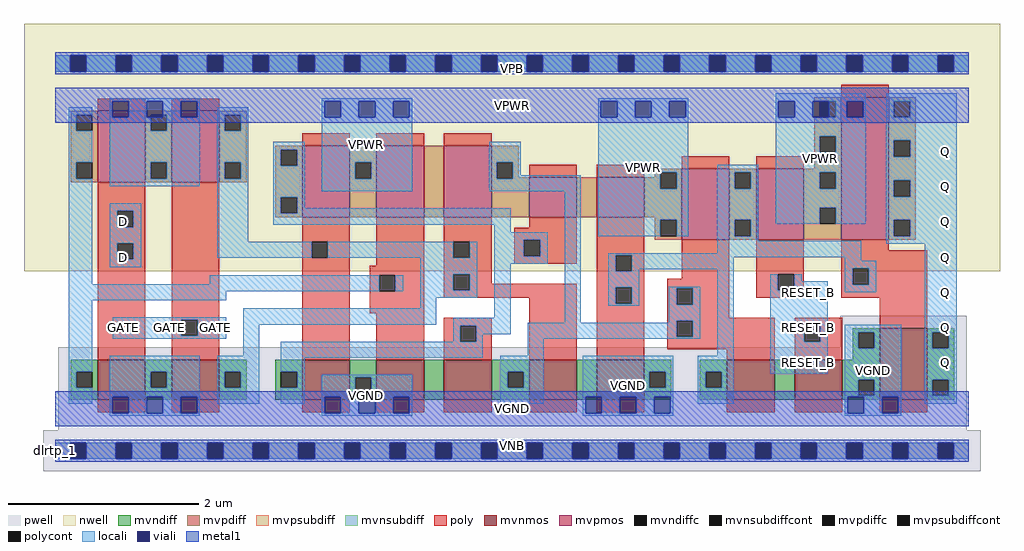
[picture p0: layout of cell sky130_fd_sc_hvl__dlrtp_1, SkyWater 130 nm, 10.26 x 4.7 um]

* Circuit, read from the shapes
.subckt sky130_fd_sc_hvl__dlrtp_1 D GATE RESET_B VGND VNB VPB VPWR Q
XM1 VGND D n1 VNB sky130_fd_pr__nfet_g5v0d10v5 w=0.42 l=0.5
XM2 n2 GATE VGND VNB sky130_fd_pr__nfet_g5v0d10v5 w=0.42 l=0.5
XM3 VGND n2 n3 VNB sky130_fd_pr__nfet_g5v0d10v5 w=0.42 l=0.5
XM4 n4 n1 VGND VNB sky130_fd_pr__nfet_g5v0d10v5 w=0.42 l=0.5
XM5 n5 n3 n4 VNB sky130_fd_pr__nfet_g5v0d10v5 w=0.42 l=0.5
XM6 n6 n2 n5 VNB sky130_fd_pr__nfet_g5v0d10v5 w=0.42 l=0.5
XM7 VGND n7 n6 VNB sky130_fd_pr__nfet_g5v0d10v5 w=0.42 l=0.5
XM8 n8 n5 n7 VNB sky130_fd_pr__nfet_g5v0d10v5 w=0.42 l=0.5
XM9 VGND RESET_B n8 VNB sky130_fd_pr__nfet_g5v0d10v5 w=0.42 l=0.5
XM10 Q n7 VGND VNB sky130_fd_pr__nfet_g5v0d10v5 w=0.75 l=0.5
XM11 VPWR D n1 VPB sky130_fd_pr__pfet_g5v0d10v5 w=0.75 l=0.5
XM12 n2 GATE VPWR VPB sky130_fd_pr__pfet_g5v0d10v5 w=0.75 l=0.5
XM13 VPWR n2 n3 VPB sky130_fd_pr__pfet_g5v0d10v5 w=0.75 l=0.5
XM14 n9 n1 VPWR VPB sky130_fd_pr__pfet_g5v0d10v5 w=0.75 l=0.5
XM15 n5 n2 n9 VPB sky130_fd_pr__pfet_g5v0d10v5 w=0.75 l=0.5
XM16 n10 n3 n5 VPB sky130_fd_pr__pfet_g5v0d10v5 w=0.42 l=0.5
XM17 VPWR n7 n10 VPB sky130_fd_pr__pfet_g5v0d10v5 w=0.42 l=0.5
XM18 n7 n5 VPWR VPB sky130_fd_pr__pfet_g5v0d10v5 w=0.75 l=0.5
XM19 VPWR RESET_B n7 VPB sky130_fd_pr__pfet_g5v0d10v5 w=0.75 l=0.5
XM20 Q n7 VPWR VPB sky130_fd_pr__pfet_g5v0d10v5 w=1.5 l=0.5
.ends

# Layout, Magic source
magic
tech sky130A
magscale 1 2
<< nwell >>
rect -66 377 1986 897
<< pwell >>
rect 1650 217 1916 283
rect 6 43 1916 217
rect -26 -43 1946 43
<< mvnmos >>
rect 89 107 189 191
rect 245 107 345 191
rect 519 107 619 191
rect 675 107 775 191
rect 817 107 917 191
rect 996 107 1096 191
rect 1138 107 1238 191
rect 1412 107 1512 191
rect 1554 107 1654 191
rect 1733 107 1833 257
<< mvpmos >>
rect 89 564 189 714
rect 245 564 345 714
rect 519 491 619 641
rect 675 491 775 641
rect 817 491 917 641
rect 996 491 1096 575
rect 1138 491 1238 575
rect 1317 443 1417 593
rect 1473 443 1573 593
rect 1652 443 1752 743
<< mvndiff >>
rect 1676 249 1733 257
rect 1676 215 1688 249
rect 1722 215 1733 249
rect 1676 191 1733 215
rect 32 166 89 191
rect 32 132 44 166
rect 78 132 89 166
rect 32 107 89 132
rect 189 166 245 191
rect 189 132 200 166
rect 234 132 245 166
rect 189 107 245 132
rect 345 166 402 191
rect 345 132 356 166
rect 390 132 402 166
rect 345 107 402 132
rect 462 166 519 191
rect 462 132 474 166
rect 508 132 519 166
rect 462 107 519 132
rect 619 154 675 191
rect 619 120 630 154
rect 664 120 675 154
rect 619 107 675 120
rect 775 107 817 191
rect 917 166 996 191
rect 917 132 951 166
rect 985 132 996 166
rect 917 107 996 132
rect 1096 107 1138 191
rect 1238 166 1295 191
rect 1238 132 1249 166
rect 1283 132 1295 166
rect 1238 107 1295 132
rect 1355 166 1412 191
rect 1355 132 1367 166
rect 1401 132 1412 166
rect 1355 107 1412 132
rect 1512 107 1554 191
rect 1654 149 1733 191
rect 1654 115 1688 149
rect 1722 115 1733 149
rect 1654 107 1733 115
rect 1833 249 1890 257
rect 1833 215 1844 249
rect 1878 215 1890 249
rect 1833 149 1890 215
rect 1833 115 1844 149
rect 1878 115 1890 149
rect 1833 107 1890 115
<< mvpdiff >>
rect 1595 735 1652 743
rect 32 706 89 714
rect 32 672 44 706
rect 78 672 89 706
rect 32 606 89 672
rect 32 572 44 606
rect 78 572 89 606
rect 32 564 89 572
rect 189 706 245 714
rect 189 672 200 706
rect 234 672 245 706
rect 189 606 245 672
rect 189 572 200 606
rect 234 572 245 606
rect 189 564 245 572
rect 345 706 402 714
rect 345 672 356 706
rect 390 672 402 706
rect 345 606 402 672
rect 1595 701 1607 735
rect 1641 701 1652 735
rect 1595 661 1652 701
rect 345 572 356 606
rect 390 572 402 606
rect 345 564 402 572
rect 462 633 519 641
rect 462 599 474 633
rect 508 599 519 633
rect 462 533 519 599
rect 462 499 474 533
rect 508 499 519 533
rect 462 491 519 499
rect 619 606 675 641
rect 619 572 630 606
rect 664 572 675 606
rect 619 491 675 572
rect 775 491 817 641
rect 917 606 974 641
rect 1595 627 1607 661
rect 1641 627 1652 661
rect 917 572 928 606
rect 962 575 974 606
rect 1595 593 1652 627
rect 1260 585 1317 593
rect 1260 575 1272 585
rect 962 572 996 575
rect 917 491 996 572
rect 1096 491 1138 575
rect 1238 551 1272 575
rect 1306 551 1317 585
rect 1238 491 1317 551
rect 1260 485 1317 491
rect 1260 451 1272 485
rect 1306 451 1317 485
rect 1260 443 1317 451
rect 1417 585 1473 593
rect 1417 551 1428 585
rect 1462 551 1473 585
rect 1417 485 1473 551
rect 1417 451 1428 485
rect 1462 451 1473 485
rect 1417 443 1473 451
rect 1573 585 1652 593
rect 1573 551 1607 585
rect 1641 551 1652 585
rect 1573 511 1652 551
rect 1573 477 1607 511
rect 1641 477 1652 511
rect 1573 443 1652 477
rect 1752 735 1809 743
rect 1752 701 1763 735
rect 1797 701 1809 735
rect 1752 652 1809 701
rect 1752 618 1763 652
rect 1797 618 1809 652
rect 1752 568 1809 618
rect 1752 534 1763 568
rect 1797 534 1809 568
rect 1752 485 1809 534
rect 1752 451 1763 485
rect 1797 451 1809 485
rect 1752 443 1809 451
<< mvndiffc >>
rect 1688 215 1722 249
rect 44 132 78 166
rect 200 132 234 166
rect 356 132 390 166
rect 474 132 508 166
rect 630 120 664 154
rect 951 132 985 166
rect 1249 132 1283 166
rect 1367 132 1401 166
rect 1688 115 1722 149
rect 1844 215 1878 249
rect 1844 115 1878 149
<< mvpdiffc >>
rect 44 672 78 706
rect 44 572 78 606
rect 200 672 234 706
rect 200 572 234 606
rect 356 672 390 706
rect 1607 701 1641 735
rect 356 572 390 606
rect 474 599 508 633
rect 474 499 508 533
rect 630 572 664 606
rect 1607 627 1641 661
rect 928 572 962 606
rect 1272 551 1306 585
rect 1272 451 1306 485
rect 1428 551 1462 585
rect 1428 451 1462 485
rect 1607 551 1641 585
rect 1607 477 1641 511
rect 1763 701 1797 735
rect 1763 618 1797 652
rect 1763 534 1797 568
rect 1763 451 1797 485
<< mvpsubdiff >>
rect 0 -17 31 17
rect 65 -17 127 17
rect 161 -17 223 17
rect 257 -17 319 17
rect 353 -17 415 17
rect 449 -17 511 17
rect 545 -17 607 17
rect 641 -17 703 17
rect 737 -17 799 17
rect 833 -17 895 17
rect 929 -17 991 17
rect 1025 -17 1087 17
rect 1121 -17 1183 17
rect 1217 -17 1279 17
rect 1313 -17 1375 17
rect 1409 -17 1471 17
rect 1505 -17 1567 17
rect 1601 -17 1663 17
rect 1697 -17 1759 17
rect 1793 -17 1855 17
rect 1889 -17 1920 17
<< mvnsubdiff >>
rect 0 797 31 831
rect 65 797 127 831
rect 161 797 223 831
rect 257 797 319 831
rect 353 797 415 831
rect 449 797 511 831
rect 545 797 607 831
rect 641 797 703 831
rect 737 797 799 831
rect 833 797 895 831
rect 929 797 991 831
rect 1025 797 1087 831
rect 1121 797 1183 831
rect 1217 797 1279 831
rect 1313 797 1375 831
rect 1409 797 1471 831
rect 1505 797 1567 831
rect 1601 797 1663 831
rect 1697 797 1759 831
rect 1793 797 1855 831
rect 1889 797 1920 831
<< mvpsubdiffcont >>
rect 31 -17 65 17
rect 127 -17 161 17
rect 223 -17 257 17
rect 319 -17 353 17
rect 415 -17 449 17
rect 511 -17 545 17
rect 607 -17 641 17
rect 703 -17 737 17
rect 799 -17 833 17
rect 895 -17 929 17
rect 991 -17 1025 17
rect 1087 -17 1121 17
rect 1183 -17 1217 17
rect 1279 -17 1313 17
rect 1375 -17 1409 17
rect 1471 -17 1505 17
rect 1567 -17 1601 17
rect 1663 -17 1697 17
rect 1759 -17 1793 17
rect 1855 -17 1889 17
<< mvnsubdiffcont >>
rect 31 797 65 831
rect 127 797 161 831
rect 223 797 257 831
rect 319 797 353 831
rect 415 797 449 831
rect 511 797 545 831
rect 607 797 641 831
rect 703 797 737 831
rect 799 797 833 831
rect 895 797 929 831
rect 991 797 1025 831
rect 1087 797 1121 831
rect 1183 797 1217 831
rect 1279 797 1313 831
rect 1375 797 1409 831
rect 1471 797 1505 831
rect 1567 797 1601 831
rect 1663 797 1697 831
rect 1759 797 1793 831
rect 1855 797 1889 831
<< poly >>
rect 1652 743 1752 769
rect 89 714 189 740
rect 245 714 345 740
rect 519 641 619 667
rect 675 641 775 667
rect 817 641 917 667
rect 89 504 189 564
rect 89 470 130 504
rect 164 470 189 504
rect 89 436 189 470
rect 89 402 130 436
rect 164 402 189 436
rect 89 191 189 402
rect 245 275 345 564
rect 996 575 1096 601
rect 1138 575 1238 601
rect 1317 593 1417 619
rect 1473 593 1573 619
rect 245 241 265 275
rect 299 241 345 275
rect 245 191 345 241
rect 519 439 619 491
rect 519 405 539 439
rect 573 405 619 439
rect 519 191 619 405
rect 675 389 775 491
rect 661 369 775 389
rect 661 335 681 369
rect 715 335 775 369
rect 661 289 775 335
rect 817 439 917 491
rect 996 469 1096 491
rect 817 405 837 439
rect 871 405 917 439
rect 817 371 917 405
rect 965 443 1096 469
rect 965 409 985 443
rect 1019 409 1096 443
rect 965 393 1096 409
rect 1138 411 1238 491
rect 817 337 837 371
rect 871 351 917 371
rect 1138 377 1178 411
rect 1212 377 1238 411
rect 871 337 1096 351
rect 817 321 1096 337
rect 675 191 775 289
rect 817 263 917 279
rect 817 229 851 263
rect 885 229 917 263
rect 817 191 917 229
rect 996 191 1096 321
rect 1138 343 1238 377
rect 1317 361 1417 443
rect 1138 309 1178 343
rect 1212 309 1238 343
rect 1138 191 1238 309
rect 1286 341 1417 361
rect 1286 307 1306 341
rect 1340 307 1417 341
rect 1473 371 1573 443
rect 1473 337 1519 371
rect 1553 337 1573 371
rect 1473 321 1573 337
rect 1652 421 1752 443
rect 1652 383 1833 421
rect 1652 349 1676 383
rect 1710 349 1833 383
rect 1652 321 1833 349
rect 1286 279 1417 307
rect 1286 273 1512 279
rect 1286 239 1306 273
rect 1340 239 1512 273
rect 1286 213 1512 239
rect 1412 191 1512 213
rect 1554 263 1654 279
rect 1554 229 1574 263
rect 1608 229 1654 263
rect 1733 257 1833 321
rect 1554 191 1654 229
rect 89 81 189 107
rect 245 81 345 107
rect 519 81 619 107
rect 675 81 775 107
rect 817 81 917 107
rect 996 81 1096 107
rect 1138 81 1238 107
rect 1412 81 1512 107
rect 1554 81 1654 107
rect 1733 81 1833 107
<< polycont >>
rect 130 470 164 504
rect 130 402 164 436
rect 265 241 299 275
rect 539 405 573 439
rect 681 335 715 369
rect 837 405 871 439
rect 985 409 1019 443
rect 837 337 871 371
rect 1178 377 1212 411
rect 851 229 885 263
rect 1178 309 1212 343
rect 1306 307 1340 341
rect 1519 337 1553 371
rect 1676 349 1710 383
rect 1306 239 1340 273
rect 1574 229 1608 263
<< locali >>
rect 0 797 31 831
rect 65 797 127 831
rect 161 797 223 831
rect 257 797 319 831
rect 353 797 415 831
rect 449 797 511 831
rect 545 797 607 831
rect 641 797 703 831
rect 737 797 799 831
rect 833 797 895 831
rect 929 797 991 831
rect 1025 797 1087 831
rect 1121 797 1183 831
rect 1217 797 1279 831
rect 1313 797 1375 831
rect 1409 797 1471 831
rect 1505 797 1567 831
rect 1601 797 1663 831
rect 1697 797 1759 831
rect 1793 797 1855 831
rect 1889 797 1920 831
rect 114 735 304 741
rect 28 706 78 722
rect 28 672 44 706
rect 28 606 78 672
rect 28 572 44 606
rect 28 350 78 572
rect 114 701 120 735
rect 154 701 192 735
rect 226 706 264 735
rect 234 701 264 706
rect 298 701 304 735
rect 560 735 750 741
rect 114 672 200 701
rect 234 672 304 701
rect 114 606 304 672
rect 114 572 200 606
rect 234 572 304 606
rect 114 556 304 572
rect 340 706 406 722
rect 340 672 356 706
rect 390 672 406 706
rect 340 606 406 672
rect 560 701 566 735
rect 600 701 638 735
rect 672 701 710 735
rect 744 701 750 735
rect 340 572 356 606
rect 390 572 406 606
rect 114 504 180 520
rect 114 470 130 504
rect 164 470 180 504
rect 114 436 180 470
rect 114 402 130 436
rect 164 402 180 436
rect 340 439 406 572
rect 458 633 524 649
rect 458 599 474 633
rect 508 599 524 633
rect 458 533 524 599
rect 560 606 750 701
rect 1141 735 1331 741
rect 1141 701 1147 735
rect 1181 701 1219 735
rect 1253 701 1291 735
rect 1325 701 1331 735
rect 560 572 630 606
rect 664 572 750 606
rect 560 545 750 572
rect 912 606 978 649
rect 912 572 928 606
rect 962 579 978 606
rect 1141 585 1331 701
rect 1514 735 1704 751
rect 1514 701 1520 735
rect 1554 701 1592 735
rect 1641 701 1664 735
rect 1698 701 1704 735
rect 1514 661 1704 701
rect 1514 627 1607 661
rect 1641 627 1704 661
rect 962 572 1105 579
rect 912 545 1105 572
rect 458 499 474 533
rect 508 509 524 533
rect 508 499 957 509
rect 458 475 957 499
rect 923 459 957 475
rect 923 443 1035 459
rect 340 405 539 439
rect 573 405 837 439
rect 871 405 887 439
rect 114 386 180 402
rect 767 371 887 405
rect 325 350 681 369
rect 28 335 681 350
rect 715 335 731 369
rect 767 337 837 371
rect 871 337 887 371
rect 28 316 359 335
rect 767 321 887 337
rect 923 409 985 443
rect 1019 409 1035 443
rect 923 393 1035 409
rect 28 166 78 316
rect 767 299 801 321
rect 121 275 359 280
rect 121 241 265 275
rect 299 241 359 275
rect 121 235 359 241
rect 395 265 801 299
rect 923 279 957 393
rect 395 199 429 265
rect 837 263 957 279
rect 1071 269 1105 545
rect 1141 551 1272 585
rect 1306 551 1331 585
rect 1141 485 1331 551
rect 1141 451 1272 485
rect 1306 451 1331 485
rect 1392 585 1478 601
rect 1392 551 1428 585
rect 1462 551 1478 585
rect 1392 485 1478 551
rect 1392 451 1428 485
rect 1462 451 1478 485
rect 1514 585 1704 627
rect 1514 551 1607 585
rect 1641 551 1704 585
rect 1514 511 1704 551
rect 1514 477 1607 511
rect 1641 477 1704 511
rect 1747 735 1895 751
rect 1747 701 1763 735
rect 1797 701 1895 735
rect 1747 652 1895 701
rect 1747 618 1763 652
rect 1797 618 1895 652
rect 1747 568 1895 618
rect 1747 534 1763 568
rect 1797 534 1895 568
rect 1747 485 1895 534
rect 1392 441 1478 451
rect 1747 451 1763 485
rect 1797 451 1895 485
rect 1392 415 1694 441
rect 1747 435 1895 451
rect 1162 411 1694 415
rect 1162 377 1178 411
rect 1212 407 1694 411
rect 1212 381 1426 407
rect 1212 377 1228 381
rect 1162 343 1228 377
rect 1162 309 1178 343
rect 1212 309 1228 343
rect 1162 305 1228 309
rect 1290 341 1356 345
rect 1290 307 1306 341
rect 1340 307 1356 341
rect 1290 273 1356 307
rect 1290 269 1306 273
rect 837 229 851 263
rect 885 245 957 263
rect 885 229 899 245
rect 28 132 44 166
rect 28 99 78 132
rect 114 166 304 199
rect 114 132 200 166
rect 234 132 304 166
rect 114 113 304 132
rect 114 79 120 113
rect 154 79 192 113
rect 226 79 264 113
rect 298 79 304 113
rect 340 166 429 199
rect 340 132 356 166
rect 390 132 429 166
rect 340 99 429 132
rect 474 195 899 229
rect 993 239 1306 269
rect 1340 239 1356 273
rect 993 235 1356 239
rect 993 199 1027 235
rect 1392 199 1426 381
rect 1660 399 1694 407
rect 1660 383 1726 399
rect 474 166 524 195
rect 508 132 524 166
rect 935 166 1027 199
rect 474 99 524 132
rect 560 154 750 159
rect 560 120 630 154
rect 664 120 750 154
rect 560 113 750 120
rect 114 73 304 79
rect 560 79 566 113
rect 600 79 638 113
rect 672 79 710 113
rect 744 79 750 113
rect 935 132 951 166
rect 985 132 1027 166
rect 935 99 1027 132
rect 1109 166 1299 199
rect 1109 132 1249 166
rect 1283 132 1299 166
rect 1109 113 1299 132
rect 560 73 750 79
rect 1109 79 1115 113
rect 1149 79 1187 113
rect 1221 79 1259 113
rect 1293 79 1299 113
rect 1351 166 1426 199
rect 1351 132 1367 166
rect 1401 132 1426 166
rect 1503 337 1519 371
rect 1553 356 1569 371
rect 1553 337 1624 356
rect 1503 263 1624 337
rect 1660 349 1676 383
rect 1710 349 1726 383
rect 1660 333 1726 349
rect 1503 229 1574 263
rect 1608 229 1624 263
rect 1503 162 1624 229
rect 1660 249 1778 265
rect 1660 215 1688 249
rect 1722 215 1778 249
rect 1351 99 1426 132
rect 1660 149 1778 215
rect 1660 115 1688 149
rect 1722 115 1778 149
rect 1660 113 1778 115
rect 1109 73 1299 79
rect 1660 79 1666 113
rect 1700 79 1738 113
rect 1772 79 1778 113
rect 1828 249 1895 435
rect 1828 215 1844 249
rect 1878 215 1895 249
rect 1828 149 1895 215
rect 1828 115 1844 149
rect 1878 115 1895 149
rect 1828 99 1895 115
rect 1660 73 1778 79
rect 0 -17 31 17
rect 65 -17 127 17
rect 161 -17 223 17
rect 257 -17 319 17
rect 353 -17 415 17
rect 449 -17 511 17
rect 545 -17 607 17
rect 641 -17 703 17
rect 737 -17 799 17
rect 833 -17 895 17
rect 929 -17 991 17
rect 1025 -17 1087 17
rect 1121 -17 1183 17
rect 1217 -17 1279 17
rect 1313 -17 1375 17
rect 1409 -17 1471 17
rect 1505 -17 1567 17
rect 1601 -17 1663 17
rect 1697 -17 1759 17
rect 1793 -17 1855 17
rect 1889 -17 1920 17
<< viali >>
rect 31 797 65 831
rect 127 797 161 831
rect 223 797 257 831
rect 319 797 353 831
rect 415 797 449 831
rect 511 797 545 831
rect 607 797 641 831
rect 703 797 737 831
rect 799 797 833 831
rect 895 797 929 831
rect 991 797 1025 831
rect 1087 797 1121 831
rect 1183 797 1217 831
rect 1279 797 1313 831
rect 1375 797 1409 831
rect 1471 797 1505 831
rect 1567 797 1601 831
rect 1663 797 1697 831
rect 1759 797 1793 831
rect 1855 797 1889 831
rect 120 701 154 735
rect 192 706 226 735
rect 192 701 200 706
rect 200 701 226 706
rect 264 701 298 735
rect 566 701 600 735
rect 638 701 672 735
rect 710 701 744 735
rect 1147 701 1181 735
rect 1219 701 1253 735
rect 1291 701 1325 735
rect 1520 701 1554 735
rect 1592 701 1607 735
rect 1607 701 1626 735
rect 1664 701 1698 735
rect 120 79 154 113
rect 192 79 226 113
rect 264 79 298 113
rect 566 79 600 113
rect 638 79 672 113
rect 710 79 744 113
rect 1115 79 1149 113
rect 1187 79 1221 113
rect 1259 79 1293 113
rect 1666 79 1700 113
rect 1738 79 1772 113
rect 31 -17 65 17
rect 127 -17 161 17
rect 223 -17 257 17
rect 319 -17 353 17
rect 415 -17 449 17
rect 511 -17 545 17
rect 607 -17 641 17
rect 703 -17 737 17
rect 799 -17 833 17
rect 895 -17 929 17
rect 991 -17 1025 17
rect 1087 -17 1121 17
rect 1183 -17 1217 17
rect 1279 -17 1313 17
rect 1375 -17 1409 17
rect 1471 -17 1505 17
rect 1567 -17 1601 17
rect 1663 -17 1697 17
rect 1759 -17 1793 17
rect 1855 -17 1889 17
<< metal1 >>
rect 0 831 1920 837
rect 0 797 31 831
rect 65 797 127 831
rect 161 797 223 831
rect 257 797 319 831
rect 353 797 415 831
rect 449 797 511 831
rect 545 797 607 831
rect 641 797 703 831
rect 737 797 799 831
rect 833 797 895 831
rect 929 797 991 831
rect 1025 797 1087 831
rect 1121 797 1183 831
rect 1217 797 1279 831
rect 1313 797 1375 831
rect 1409 797 1471 831
rect 1505 797 1567 831
rect 1601 797 1663 831
rect 1697 797 1759 831
rect 1793 797 1855 831
rect 1889 797 1920 831
rect 0 791 1920 797
rect 0 735 1920 763
rect 0 701 120 735
rect 154 701 192 735
rect 226 701 264 735
rect 298 701 566 735
rect 600 701 638 735
rect 672 701 710 735
rect 744 701 1147 735
rect 1181 701 1219 735
rect 1253 701 1291 735
rect 1325 701 1520 735
rect 1554 701 1592 735
rect 1626 701 1664 735
rect 1698 701 1920 735
rect 0 689 1920 701
rect 0 113 1920 125
rect 0 79 120 113
rect 154 79 192 113
rect 226 79 264 113
rect 298 79 566 113
rect 600 79 638 113
rect 672 79 710 113
rect 744 79 1115 113
rect 1149 79 1187 113
rect 1221 79 1259 113
rect 1293 79 1666 113
rect 1700 79 1738 113
rect 1772 79 1920 113
rect 0 51 1920 79
rect 0 17 1920 23
rect 0 -17 31 17
rect 65 -17 127 17
rect 161 -17 223 17
rect 257 -17 319 17
rect 353 -17 415 17
rect 449 -17 511 17
rect 545 -17 607 17
rect 641 -17 703 17
rect 737 -17 799 17
rect 833 -17 895 17
rect 929 -17 991 17
rect 1025 -17 1087 17
rect 1121 -17 1183 17
rect 1217 -17 1279 17
rect 1313 -17 1375 17
rect 1409 -17 1471 17
rect 1505 -17 1567 17
rect 1601 -17 1663 17
rect 1697 -17 1759 17
rect 1793 -17 1855 17
rect 1889 -17 1920 17
rect 0 -23 1920 -17
<< labels >>
rlabel comment s 0 0 0 0 4 dlrtp_1
flabel metal1 s 0 51 1920 125 0 FreeSans 340 0 0 0 VGND
port 4 nsew ground bidirectional
flabel metal1 s 0 0 1920 23 0 FreeSans 340 0 0 0 VNB
port 5 nsew ground bidirectional
flabel metal1 s 0 689 1920 763 0 FreeSans 340 0 0 0 VPWR
port 7 nsew power bidirectional
flabel metal1 s 0 791 1920 814 0 FreeSans 340 0 0 0 VPB
port 6 nsew power bidirectional
flabel locali s 127 390 161 424 0 FreeSans 340 0 0 0 D
port 1 nsew signal input
flabel locali s 127 464 161 498 0 FreeSans 340 0 0 0 D
port 1 nsew signal input
flabel locali s 127 242 161 276 0 FreeSans 340 0 0 0 GATE
port 2 nsew clock input
flabel locali s 223 242 257 276 0 FreeSans 340 0 0 0 GATE
port 2 nsew clock input
flabel locali s 319 242 353 276 0 FreeSans 340 0 0 0 GATE
port 2 nsew clock input
flabel locali s 1567 168 1601 202 0 FreeSans 340 0 0 0 RESET_B
port 3 nsew signal input
flabel locali s 1567 242 1601 276 0 FreeSans 340 0 0 0 RESET_B
port 3 nsew signal input
flabel locali s 1567 316 1601 350 0 FreeSans 340 0 0 0 RESET_B
port 3 nsew signal input
flabel locali s 1855 168 1889 202 0 FreeSans 340 0 0 0 Q
port 8 nsew signal output
flabel locali s 1855 242 1889 276 0 FreeSans 340 0 0 0 Q
port 8 nsew signal output
flabel locali s 1855 316 1889 350 0 FreeSans 340 0 0 0 Q
port 8 nsew signal output
flabel locali s 1855 390 1889 424 0 FreeSans 340 0 0 0 Q
port 8 nsew signal output
flabel locali s 1855 464 1889 498 0 FreeSans 340 0 0 0 Q
port 8 nsew signal output
flabel locali s 1855 538 1889 572 0 FreeSans 340 0 0 0 Q
port 8 nsew signal output
flabel locali s 1855 612 1889 646 0 FreeSans 340 0 0 0 Q
port 8 nsew signal output
rlabel locali s 560 73 750 159 1 VGND
port 4 nsew ground bidirectional
rlabel locali s 1109 73 1299 199 1 VGND
port 4 nsew ground bidirectional
rlabel locali s 1660 73 1778 265 1 VGND
port 4 nsew ground bidirectional
rlabel metal1 s 0 51 1920 125 1 VGND
port 4 nsew ground bidirectional
rlabel metal1 s 0 -23 1920 23 1 VNB
port 5 nsew ground bidirectional
rlabel metal1 s 0 791 1920 837 1 VPB
port 6 nsew power bidirectional
rlabel locali s 560 545 750 741 1 VPWR
port 7 nsew power bidirectional
rlabel locali s 1141 451 1331 741 1 VPWR
port 7 nsew power bidirectional
rlabel locali s 1514 477 1704 751 1 VPWR
port 7 nsew power bidirectional
rlabel metal1 s 0 689 1920 763 1 VPWR
port 7 nsew power bidirectional
<< properties >>
string FIXED_BBOX 0 0 1920 814
string GDS_END 1203658
string GDS_FILE $PDKPATH/libs.ref/sky130_fd_sc_hvl/gds/sky130_fd_sc_hvl.gds
string GDS_START 1183922
string LEFclass CORE
string LEFsite unithv
string LEFsymmetry X Y
<< end >>
